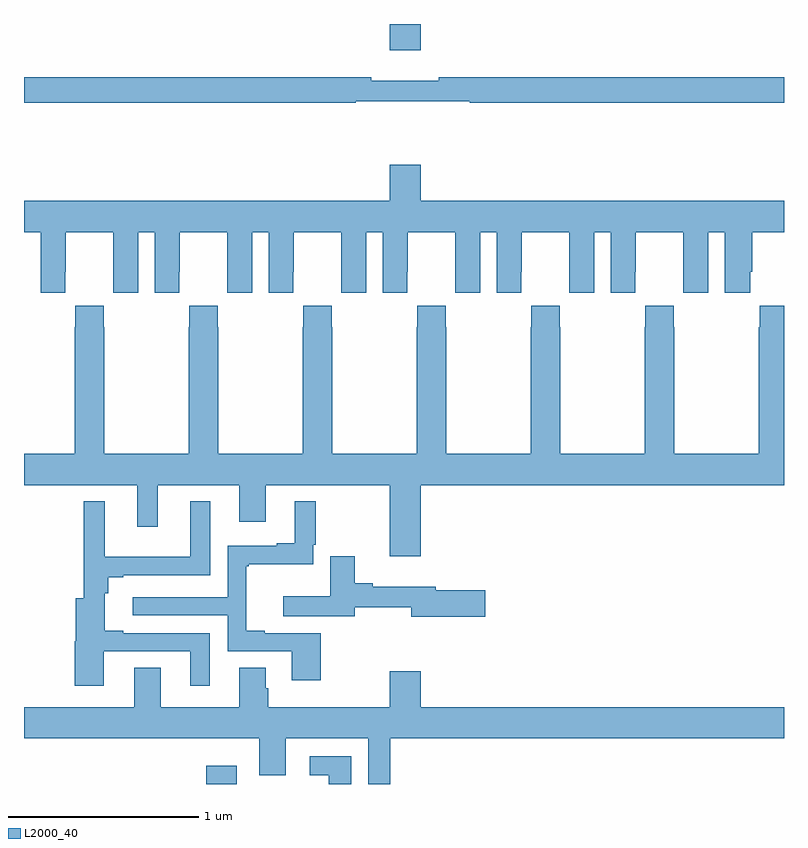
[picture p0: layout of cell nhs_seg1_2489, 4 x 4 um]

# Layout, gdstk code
import gdstk
lib = gdstk.Library(unit=1e-6, precision=1e-09)
def R(c, l, rs):  # rectangles x0, y0, x1, y1
    for r in rs: c.add(gdstk.rectangle(r[:2], r[2:], *l))
def P(c, l, *ps):  # polygons
    for p in ps: c.add(gdstk.Polygon(p, *l))
L2000_40 = (2000, 40)

nhs_seg1_2489 = lib.new_cell('nhs_seg1_2489')
R(nhs_seg1_2489, L2000_40, [(247.958,510.199,248.119,510.295), (248.924,514.062,249.088,514.199)])
P(nhs_seg1_2489, L2000_40, [(248.745,513.792),(249.345,513.792),(249.345,513.784),(251,513.784),(251,513.92),(249.184,513.92),(249.184,513.901),(248.828,513.901),(248.828,513.92),(247,513.92),(247,513.784),(248.745,513.784)],
  [(247,513.104),(247.088,513.104),(247.088,512.784),(247.218,512.784),(247.218,512.896),(247.219,512.896),(247.219,513.104),(247.469,513.104),(247.469,512.896),(247.47,512.896),(247.47,512.784),(247.6,512.784),(247.6,513.104),(247.688,513.104),(247.688,512.784),(247.818,512.784),(247.818,512.896),(247.819,512.896),(247.819,513.104),(248.069,513.104),(248.069,512.896),(248.07,512.896),(248.07,512.784),(248.2,512.784),(248.2,513.104),(248.288,513.104),(248.288,512.784),(248.418,512.784),(248.418,512.896),(248.419,512.896),(248.419,513.104),(248.669,513.104),(248.669,512.896),(248.67,512.896),(248.67,512.784),(248.8,512.784),(248.8,513.104),(248.888,513.104),(248.888,512.784),(249.018,512.784),(249.018,512.896),(249.019,512.896),(249.019,513.104),(249.269,513.104),(249.269,512.896),(249.27,512.896),(249.27,512.784),(249.4,512.784),(249.4,513.104),(249.488,513.104),(249.488,512.784),(249.618,512.784),(249.618,512.896),(249.619,512.896),(249.619,513.104),(249.869,513.104),(249.869,512.896),(249.87,512.896),(249.87,512.784),(250,512.784),(250,513.104),(250.088,513.104),(250.088,512.784),(250.218,512.784),(250.218,512.896),(250.219,512.896),(250.219,513.104),(250.469,513.104),(250.469,512.896),(250.47,512.896),(250.47,512.784),(250.6,512.784),(250.6,513.104),(250.688,513.104),(250.688,512.784),(250.822,512.784),(250.822,512.896),(250.832,512.896),(250.832,513.104),(251,513.104),(251,513.268),(249.088,513.268),(249.088,513.457),(248.924,513.457),(248.924,513.268),(247,513.268)],
  [(247.269,512.716),(247.269,512.603),(247.267,512.603),(247.267,511.936),(247,511.936),(247,511.772),(247.595,511.772),(247.595,511.554),(247.705,511.554),(247.705,511.772),(248.132,511.772),(248.132,511.578),(248.272,511.578),(248.272,511.772),(248.924,511.772),(248.924,511.398),(249.088,511.398),(249.088,511.772),(251,511.772),(251,512.716),(250.873,512.716),(250.873,512.603),(250.867,512.603),(250.867,511.936),(250.422,511.936),(250.422,512.603),(250.419,512.603),(250.419,512.716),(250.269,512.716),(250.269,512.603),(250.267,512.603),(250.267,511.936),(249.822,511.936),(249.822,512.603),(249.819,512.603),(249.819,512.716),(249.669,512.716),(249.669,512.603),(249.667,512.603),(249.667,511.936),(249.222,511.936),(249.222,512.603),(249.219,512.603),(249.219,512.716),(249.069,512.716),(249.069,512.603),(249.067,512.603),(249.067,511.936),(248.622,511.936),(248.622,512.603),(248.619,512.603),(248.619,512.716),(248.469,512.716),(248.469,512.603),(248.467,512.603),(248.467,511.936),(248.022,511.936),(248.022,512.603),(248.019,512.603),(248.019,512.716),(247.869,512.716),(247.869,512.603),(247.867,512.603),(247.867,511.936),(247.422,511.936),(247.422,512.603),(247.419,512.603),(247.419,512.716)],
  [(247.42,510.897),(247.874,510.897),(247.874,510.717),(247.978,510.717),(247.978,510.993),(247.522,510.993),(247.522,511.006),(247.426,511.006),(247.426,511.202),(247.444,511.202),(247.444,511.287),(247.522,511.287),(247.522,511.299),(247.981,511.299),(247.981,511.687),(247.874,511.687),(247.874,511.396),(247.426,511.396),(247.426,511.687),(247.315,511.687),(247.315,511.177),(247.273,511.177),(247.273,510.951),(247.268,510.951),(247.268,510.717),(247.42,510.717)],
  [(248.561,510.993),(248.266,510.993),(248.266,511.006),(248.171,511.006),(248.171,511.344),(248.182,511.344),(248.182,511.355),(248.523,511.355),(248.523,511.459),(248.536,511.459),(248.536,511.687),(248.426,511.687),(248.426,511.465),(248.33,511.465),(248.33,511.452),(248.073,511.452),(248.073,511.182),(247.572,511.182),(247.572,511.086),(248.073,511.086),(248.073,510.897),(248.408,510.897),(248.408,510.744),(248.561,510.744)],
  [(249.427,511.22),(249.166,511.22),(249.166,511.237),(248.836,511.237),(248.836,511.256),(248.74,511.256),(248.74,511.399),(248.612,511.399),(248.612,511.186),(248.364,511.186),(248.364,511.082),(248.74,511.082),(248.74,511.128),(249.038,511.128),(249.038,511.078),(249.427,511.078)],
  [(248.927,510.44),(251,510.44),(251,510.604),(249.088,510.604),(249.088,510.793),(248.924,510.793),(248.924,510.604),(248.285,510.604),(248.285,510.702),(248.272,510.702),(248.272,510.812),(248.132,510.812),(248.132,510.604),(247.72,510.604),(247.72,510.812),(247.58,510.812),(247.58,510.604),(247,510.604),(247,510.44),(248.237,510.44),(248.237,510.246),(248.377,510.246),(248.377,510.44),(248.811,510.44),(248.811,510.199),(248.927,510.199)],
  [(248.722,510.346),(248.505,510.346),(248.505,510.245),(248.603,510.245),(248.603,510.199),(248.722,510.199)])

lib.write_gds('nhs_seg1_2489.gds')
